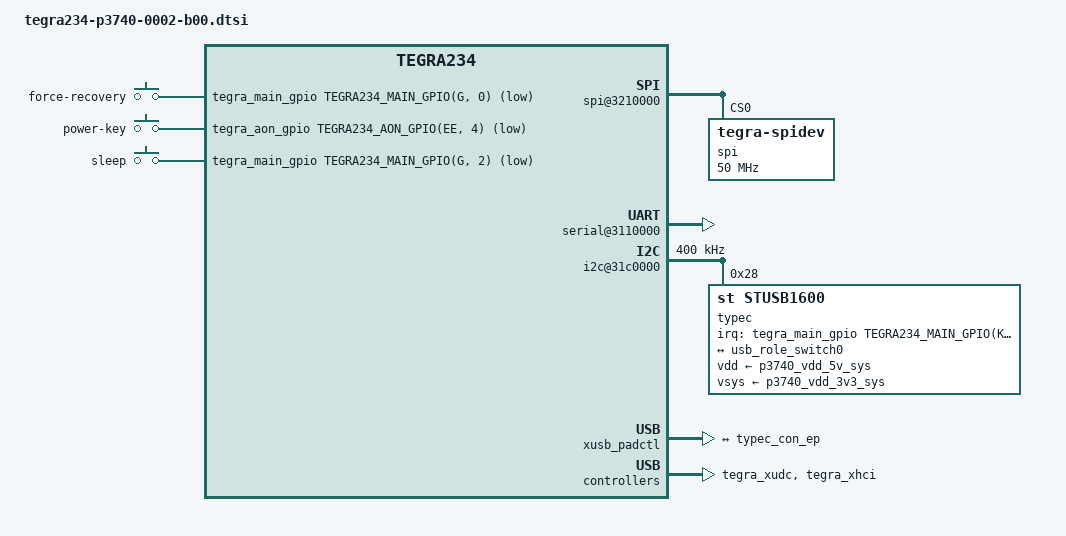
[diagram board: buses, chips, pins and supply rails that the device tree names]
/*
 * Copyright (c) 2022-2023, NVIDIA CORPORATION.  All rights reserved.
 *
 * This program is free software; you can redistribute it and/or modify
 * it under the terms of the GNU General Public License as published by
 * the Free Software Foundation; version 2 of the License.
 *
 * This program is distributed in the hope that it will be useful, but WITHOUT
 * ANY WARRANTY; without even the implied warranty of MERCHANTABILITY or
 * FITNESS FOR A PARTICULAR PURPOSE.  See the GNU General Public License for
 * more details.
 */

#include <dt-bindings/gpio/tegra234-gpio.h>
#include <dt-bindings/input/input.h>
#include "tegra234-p3740-b00-fixed-regulator.dtsi"
#include "tegra234-p3740-b00-pcie.dtsi"
#include "tegra234-p3740-audio.dtsi"
#include "tegra234-p3740-camera-modules.dtsi"
#include "tegra234-p3740-powermon.dtsi"

/ {
	gpio-keys {
		compatible = "gpio-keys";
		gpio-keys,name = "gpio-keys";
		status = "okay";

		forcerecovery {
			label = "force-recovery";
			gpios = <&tegra_main_gpio TEGRA234_MAIN_GPIO(G, 0) GPIO_ACTIVE_LOW>;
			linux,code = <BTN_1>;
		};

		power_key {
			label = "power-key";
			gpios = <&tegra_aon_gpio TEGRA234_AON_GPIO(EE, 4) GPIO_ACTIVE_LOW>;
			linux,code = <KEY_POWER>;
			gpio-key,wakeup;
		};

		sleep {
			label = "sleep";
			gpios = <&tegra_main_gpio TEGRA234_MAIN_GPIO(G, 2) GPIO_ACTIVE_LOW>;
			linux,code = <KEY_SLEEP>;
		};
	};

	eeprom-manager {
		bus@1 {
			i2c-bus = <&dp_aux_ch2_i2c>;
			eeprom@1 {
				slave-address = <0x55>;
				label = "cvb";
			};
		};
	};

	/* SPI1 connects to TPM */
	spi@3210000 {
		status = "okay";
		spi@0 { /* chip select 0 */
			compatible = "tegra-spidev";
			reg = <0x0>;
			spi-max-frequency = <50000000>;
			controller-data {
				nvidia,enable-hw-based-cs;
				nvidia,rx-clk-tap-delay = <0x10>;
				nvidia,tx-clk-tap-delay = <0x0>;
			};
		};
	};

	serial@3110000 {
		status = "okay";
	};

	stm@24080000 {
		status = "disabled";
	};

	cpu0_etm@27040000 {
		status = "disabled";
	};

	cpu1_etm@27140000 {
		status = "disabled";
	};

	cpu2_etm@27240000 {
		status = "disabled";
	};

	cpu3_etm@27340000 {
		status = "disabled";
	};

	cpu4_etm@27440000 {
		status = "disabled";
	};

	cpu5_etm@27540000 {
		status = "disabled";
	};

	cpu6_etm@27640000 {
		status = "disabled";
	};

	cpu7_etm@27740000 {
		status = "disabled";
	};

	cpu8_etm@27840000 {
		status = "disabled";
	};

	cpu9_etm@27940000 {
		status = "disabled";
	};

	cpu10_etm@27A40000 {
		status = "disabled";
	};

	cpu11_etm@27B40000 {
		status = "disabled";
	};

	funnel_ccplex0@26030000 {
		status = "disabled";
	};

	funnel_ccplex1@26040000 {
		status = "disabled";
	};

	funnel_ccplex2@26050000 {
		status = "disabled";
	};

	funnel_top_ccplex@26020000 {
		status = "disabled";
	};

	funnel_major@24040000 {
		status = "disabled";
	};

	replicator@24060000 {
		status = "disabled";
	};

	etf@24050000 {
		status = "disabled";
	};

	etr@24070000 {
		status = "disabled";
	};

	/* I2C7 */
	i2c@31c0000 {
		status = "okay";
		clock-frequency = <400000>;

		typec: stusb1600@28 {
			status = "okay";
			compatible = "st,stusb1600";
			reg = <0x28>;
			vdd-supply = <&p3740_vdd_5v_sys>;
			vsys-supply = <&p3740_vdd_3v3_sys>;
			interrupt-parent = <&tegra_main_gpio>;
			interrupts = <TEGRA234_MAIN_GPIO(K, 6) IRQ_TYPE_LEVEL_LOW>;
			typec_con: connector {
				compatible = "usb-c-connector";
				label = "USB-C";
				data-role = "dual";
				power-role = "dual";
				typec-power-opmode = "default";

				port {
					typec_con_ep: endpoint {
						remote-endpoint = <&usb_role_switch0>;
					};
				};
			};
		};
	};

	xusb_padctl: xusb_padctl@3520000 {
		status = "okay";
		pads {
			usb2 {
				lanes {
					usb2-0 {
						nvidia,function = "xusb";
						status = "okay";
					};
					usb2-1 {
						nvidia,function = "xusb";
						status = "okay";
					};
					usb2-2 {
						nvidia,function = "xusb";
						status = "okay";
					};
					usb2-3 {
						nvidia,function = "xusb";
						status = "okay";
					};
				};
			};
			usb3 {
				lanes {
					usb3-0 {
						nvidia,function = "xusb";
						status = "okay";
					};
					usb3-1 {
						nvidia,function = "xusb";
						status = "okay";
					};
					usb3-2 {
						nvidia,function = "xusb";
						status = "okay";
					};
				};
			};
		};

		ports {
			usb2-0 {
				mode = "otg";
				usb-role-switch;
				status = "okay";
				port {
					usb_role_switch0: endpoint {
						remote-endpoint = <&typec_con_ep>;
					};
				};
			};
			usb2-1 {
				mode = "host";
				status = "okay";
			};
			usb2-2 {
				mode = "host";
				status = "okay";
			};
			usb2-3 {
				mode = "host";
				status = "okay";
			};
			usb3-0 {
				nvidia,usb2-companion = <2>;
				status = "okay";
			};
			usb3-1 {
				nvidia,usb2-companion = <0>;
				status = "okay";
			};
			usb3-2 {
				nvidia,usb2-companion = <1>;
				status = "okay";
			};
		};
	};

	tegra_xudc: xudc@3550000 {
		status = "okay";
		phys = <&{/xusb_padctl@3520000/pads/usb2/lanes/usb2-0}>,
			<&{/xusb_padctl@3520000/pads/usb3/lanes/usb3-1}>;
		phy-names = "usb2-0", "usb3-1";
		nvidia,xusb-padctl = <&xusb_padctl>;
		nvidia,boost_cpu_freq = <1200>;
	};

	tegra_xhci: xhci@3610000 {
		status = "okay";
		phys = <&{/xusb_padctl@3520000/pads/usb2/lanes/usb2-0}>,
			<&{/xusb_padctl@3520000/pads/usb2/lanes/usb2-1}>,
			<&{/xusb_padctl@3520000/pads/usb2/lanes/usb2-2}>,
			<&{/xusb_padctl@3520000/pads/usb2/lanes/usb2-3}>,
			<&{/xusb_padctl@3520000/pads/usb3/lanes/usb3-0}>,
			<&{/xusb_padctl@3520000/pads/usb3/lanes/usb3-1}>,
			<&{/xusb_padctl@3520000/pads/usb3/lanes/usb3-2}>;
		phy-names = "usb2-0", "usb2-1", "usb2-2", "usb2-3",
			"usb3-0", "usb3-1", "usb3-2";
		nvidia,xusb-padctl = <&xusb_padctl>;
	};

	mttcan@c310000 {
		status = "okay";
	};

	mttcan@c320000 {
		status = "okay";
	};
};
